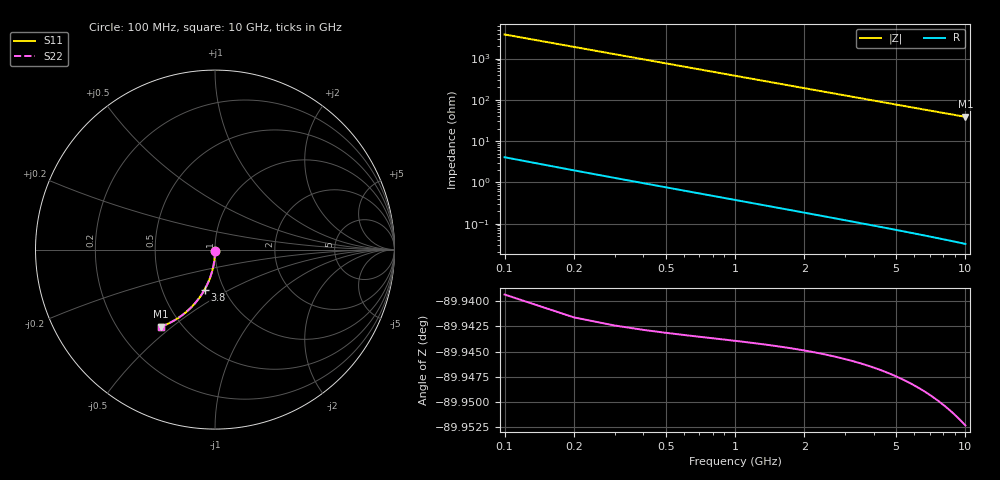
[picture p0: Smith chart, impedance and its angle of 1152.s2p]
# Hz S RI R 50.00
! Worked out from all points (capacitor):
!   100 points, 100 MHz to 10 GHz, reference 50 ohm
!   read as one part in shunt: C = 415 fF near 100 MHz
!   lowest |Z| = 38.7 ohm at 10 GHz (marker M1)
!   S11 on the Smith chart (normalised r, x): 100 MHz: 1.00, -0.01; 3.8 GHz: 0.81, -0.38; 10 GHz: 0.39, -0.46
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1e8  0.000219 -0.00623  0.9997 -0.00682  0.9997 -0.00682  0.000219 -0.00623
2e8  8.7e-05 -0.0125  0.9995 -0.0136  0.9995 -0.0136  8.7e-05 -0.0125
3e8  -0.00013 -0.0187  0.9993 -0.0204  0.9993 -0.0204  -0.00013 -0.0187
4e8  -0.000433 -0.0249  0.999 -0.0273  0.999 -0.0273  -0.000433 -0.0249
5e8  -0.00082 -0.0311  0.9986 -0.0341  0.9986 -0.0341  -0.00082 -0.0311
6e8  -0.00129 -0.0373  0.9982 -0.0409  0.9982 -0.0409  -0.00129 -0.0373
7e8  -0.00185 -0.0435  0.9976 -0.0476  0.9976 -0.0476  -0.00185 -0.0435
8e8  -0.00249 -0.0497  0.9969 -0.0544  0.9969 -0.0544  -0.00249 -0.0497
9e8  -0.00321 -0.0559  0.9962 -0.0612  0.9962 -0.0612  -0.00321 -0.0559
1.1e9  -0.00491 -0.0682  0.9945 -0.0746  0.9945 -0.0746  -0.00491 -0.0682
1.4e9  -0.00807 -0.0865  0.9913 -0.0947  0.9913 -0.0947  -0.00807 -0.0865
1.8e9  -0.0134 -0.1106  0.986 -0.1212  0.986 -0.1212  -0.0134 -0.1106
2.1e9  -0.0183 -0.1284  0.9811 -0.1407  0.9811 -0.1407  -0.0183 -0.1284
2.5e9  -0.0258 -0.1516  0.9735 -0.1663  0.9735 -0.1663  -0.0258 -0.1516
2.9e9  -0.0345 -0.1743  0.9648 -0.1913  0.9648 -0.1913  -0.0345 -0.1743
3.4e9  -0.0468 -0.2017  0.9524 -0.2216  0.9524 -0.2216  -0.0468 -0.2017
3.8e9  -0.0579 -0.2227  0.9413 -0.245  0.9413 -0.245  -0.0579 -0.2227
4.4e9  -0.0762 -0.2527  0.9228 -0.2785  0.9228 -0.2785  -0.0762 -0.2527
5.1e9  -0.1 -0.2851  0.899 -0.3151  0.899 -0.3151  -0.1 -0.2851
6.7e9  -0.1613 -0.3482  0.8373 -0.3877  0.8373 -0.3877  -0.1613 -0.3482
8.4e9  -0.2329 -0.3979  0.7653 -0.4475  0.7653 -0.4475  -0.2329 -0.3979
1e10  -0.3017 -0.4294  0.6959 -0.4886  0.6959 -0.4886  -0.3017 -0.4294
